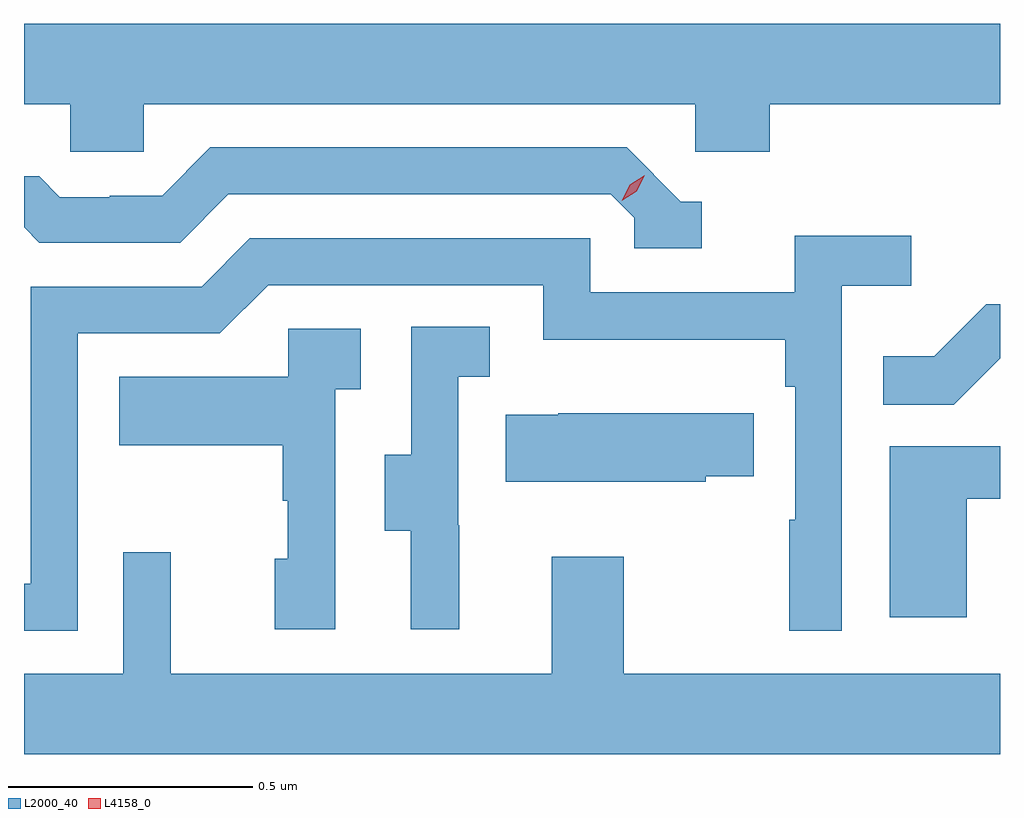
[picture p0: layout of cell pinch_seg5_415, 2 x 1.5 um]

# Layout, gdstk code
import gdstk
lib = gdstk.Library(unit=1e-6, precision=1e-09)
def P(c, l, *ps):  # polygons
    for p in ps: c.add(gdstk.Polygon(p, *l))
L2000_40 = (2000, 40)
L4158_0 = (4158, 0)

pinch_seg5_415 = lib.new_cell('pinch_seg5_415')
P(pinch_seg5_415, L2000_40, [(1013.187,858.092),(1014.318,858.092),(1014.318,857.994),(1014.47,857.994),(1014.47,858.092),(1014.942,858.092),(1014.942,858.256),(1012.942,858.256),(1012.942,858.092),(1013.037,858.092),(1013.037,857.994),(1013.187,857.994)],
  [(1014.331,857.892),(1014.288,857.892),(1014.177,858.003),(1013.324,858.003),(1013.225,857.904),(1013.118,857.904),(1013.118,857.901),(1013.015,857.901),(1012.973,857.944),(1012.942,857.944),(1012.942,857.839),(1012.973,857.808),(1013.262,857.808),(1013.361,857.907),(1014.144,857.907),(1014.192,857.859),(1014.192,857.796),(1014.331,857.796)],
  [(1013.052,857.622),(1013.343,857.622),(1013.442,857.721),(1014.006,857.721),(1014.006,857.609),(1014.502,857.609),(1014.502,857.513),(1014.522,857.513),(1014.522,857.24),(1014.51,857.24),(1014.51,857.013),(1014.618,857.013),(1014.618,857.72),(1014.76,857.72),(1014.76,857.822),(1014.521,857.822),(1014.521,857.706),(1014.102,857.706),(1014.102,857.817),(1013.405,857.817),(1013.306,857.718),(1012.956,857.718),(1012.956,857.109),(1012.942,857.109),(1012.942,857.013),(1013.052,857.013)],
  [(1014.942,857.571),(1014.942,857.682),(1014.914,857.682),(1014.807,857.575),(1014.703,857.575),(1014.703,857.476),(1014.847,857.476)],
  [(1013.834,857.229),(1013.832,857.229),(1013.832,857.533),(1013.896,857.533),(1013.896,857.636),(1013.736,857.636),(1013.736,857.373),(1013.681,857.373),(1013.681,857.218),(1013.735,857.218),(1013.735,857.016),(1013.834,857.016)],
  [(1013.58,857.507),(1013.632,857.507),(1013.632,857.631),(1013.484,857.631),(1013.484,857.533),(1013.137,857.533),(1013.137,857.393),(1013.472,857.393),(1013.472,857.279),(1013.482,857.279),(1013.482,857.16),(1013.456,857.16),(1013.456,857.016),(1013.58,857.016)],
  [(1014.339,857.329),(1014.437,857.329),(1014.437,857.458),(1014.037,857.458),(1014.037,857.455),(1013.929,857.455),(1013.929,857.318),(1014.339,857.318)],
  [(1014.874,857.283),(1014.942,857.283),(1014.942,857.391),(1014.716,857.391),(1014.716,857.04),(1014.874,857.04)],
  [(1014.942,856.924),(1014.171,856.924),(1014.171,857.164),(1014.023,857.164),(1014.023,856.924),(1013.243,856.924),(1013.243,857.173),(1013.145,857.173),(1013.145,856.924),(1012.942,856.924),(1012.942,856.76),(1014.942,856.76)])
P(pinch_seg5_415, L4158_0, [(1014.167,857.894),(1014.167,857.894),(1014.183,857.927),(1014.214,857.946),(1014.214,857.946),(1014.214,857.946),(1014.198,857.913),(1014.167,857.894)])

lib.write_gds('pinch_seg5_415.gds')
